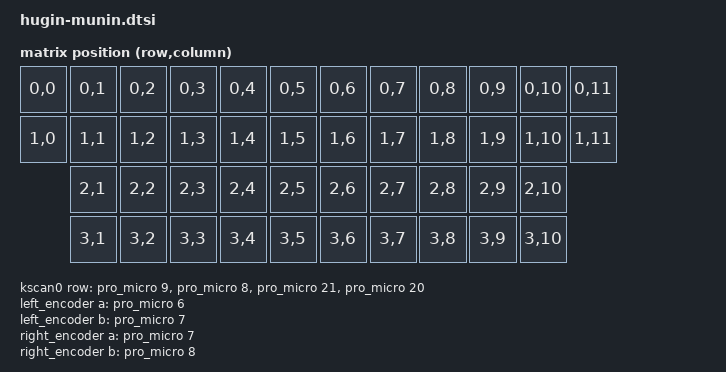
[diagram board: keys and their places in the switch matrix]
#include <dt-bindings/zmk/matrix_transform.h>
#include <dt-bindings/pwm/pwm.h>
#include <zephyr/dt-bindings/pinctrl/nrf-pinctrl.h>
#include "hugin-munin-layouts.dtsi"

/ {
    kscan0: kscan0 {
        compatible = "zmk,kscan-gpio-matrix";
        diode-direction = "col2row";
        wakeup-source;

        row-gpios
            = <&pro_micro 9 (GPIO_ACTIVE_HIGH | GPIO_PULL_DOWN)>
            , <&pro_micro 8 (GPIO_ACTIVE_HIGH | GPIO_PULL_DOWN)>
            , <&pro_micro 21 (GPIO_ACTIVE_HIGH | GPIO_PULL_DOWN)>
            , <&pro_micro 20 (GPIO_ACTIVE_HIGH | GPIO_PULL_DOWN)>
            ;
    };
};

// Note: RC(3,5) and RC(3,6) are connected to the encoders (position not quite like in the matrix)
/ {
    default_transform: keymap_transform_0 {
        compatible = "zmk,matrix-transform";
        columns = <12>;
        rows = <4>;
        map = <
            RC(0,0) RC(0,1) RC(0,2) RC(0,3) RC(0,4) RC(0,5)      RC(0,6) RC(0,7) RC(0,8) RC(0,9) RC(0,10) RC(0,11)
            RC(1,0) RC(1,1) RC(1,2) RC(1,3) RC(1,4) RC(1,5)      RC(1,6) RC(1,7) RC(1,8) RC(1,9) RC(1,10) RC(1,11)
                    RC(2,1) RC(2,2) RC(2,3) RC(2,4) RC(2,5)      RC(2,6) RC(2,7) RC(2,8) RC(2,9) RC(2,10)
                    RC(3,1) RC(3,2) RC(3,3) RC(3,4) RC(3,5)      RC(3,6) RC(3,7) RC(3,8) RC(3,9) RC(3,10)
        >;
    };
};

&physical_layout0 {
    kscan = <&kscan0>; // label of the kscan node this layout uses
    transform = <&default_transform>; // label of the matrix transform this layout uses
};

/ {
    chosen {
        zmk,physical-layout = &physical_layout0;
    };
    
    left_encoder: encoder_left {
        compatible = "alps,ec11";
        a-gpios = <&pro_micro 6 (GPIO_ACTIVE_HIGH | GPIO_PULL_UP)>;
        b-gpios = <&pro_micro 7 (GPIO_ACTIVE_HIGH | GPIO_PULL_UP)>;
        steps = <24>;
        status = "disabled";
    };

    right_encoder: encoder_right {
        compatible = "alps,ec11";
        a-gpios = <&pro_micro 7 (GPIO_ACTIVE_HIGH | GPIO_PULL_UP)>;
        b-gpios = <&pro_micro 8 (GPIO_ACTIVE_HIGH | GPIO_PULL_UP)>;
        steps = <24>;
        status = "disabled";
    };

    sensors: sensors {
        compatible = "zmk,keymap-sensors";
        sensors = <&left_encoder &right_encoder>;
        triggers-per-rotation = <24>;
    };
};

&pinctrl {
    pwm_led_default: pwm_led_default {
        group1 {
            psels = <NRF_PSEL(PWM_OUT0, 0, 22)>,
                    <NRF_PSEL(PWM_OUT1, 0, 20)>,
                    <NRF_PSEL(PWM_OUT2, 0, 17)>;
        };
    };
    pwm_led_sleep: pwm_led_sleep {
        group1 {
            psels = <NRF_PSEL(PWM_OUT0, 0, 22)>,
                    <NRF_PSEL(PWM_OUT1, 0, 20)>,
                    <NRF_PSEL(PWM_OUT2, 0, 17)>;
            low-power-enable;
        };
    };
};

&pwm1 {
    status = "okay";
    pinctrl-0 = <&pwm_led_default>;
    pinctrl-1 = <&pwm_led_sleep>;
    pinctrl-names = "default", "sleep";
};

// Note: in the scematic, the leds are labeled 0 to 2 from outside to inside
// but I labeled them from inside to outside when writing the led module
// These pin labels follow (have to follow) the modules naming convention
/ {
    status_leds {
        compatible = "pwm-leds";
        status_led_0: led_0 {pwms = <&pwm1 0 PWM_MSEC(1) PWM_POLARITY_NORMAL>; };
        status_led_1: led_1 {pwms = <&pwm1 0 PWM_MSEC(1) PWM_POLARITY_NORMAL>; };
        status_led_2: led_2 {pwms = <&pwm1 0 PWM_MSEC(1) PWM_POLARITY_NORMAL>; };
    };
};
